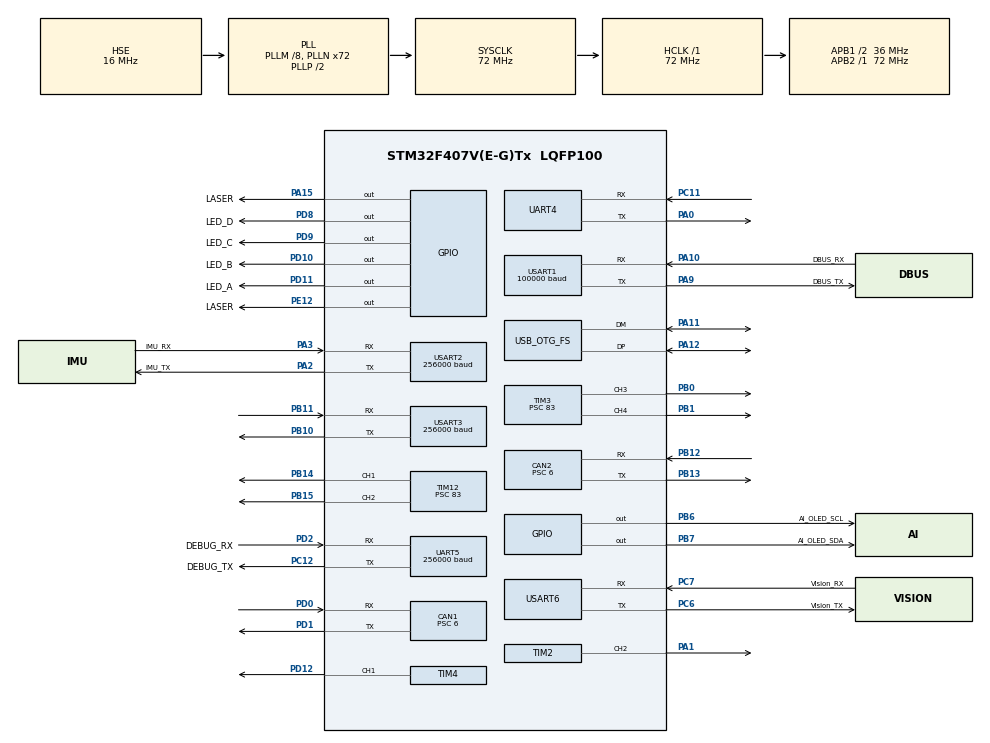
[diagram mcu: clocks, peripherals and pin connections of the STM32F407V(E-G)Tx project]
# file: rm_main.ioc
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CAN1.ABOM=ENABLE
CAN1.BS1=CAN_BS1_2TQ
CAN1.BS2=CAN_BS2_3TQ
CAN1.CalculateBaudRate=999999
CAN1.CalculateTimeBit=1000
CAN1.CalculateTimeQuantum=166.66666666666669
CAN1.Prescaler=6
CAN2.ABOM=ENABLE
CAN2.BS1=CAN_BS1_2TQ
CAN2.BS2=CAN_BS2_3TQ
CAN2.CalculateBaudRate=999999
CAN2.CalculateTimeBit=1000
CAN2.CalculateTimeQuantum=166.66666666666669
CAN2.Prescaler=6
Dma.Request0=USART2_RX
Dma.Request1=USART3_RX
Dma.Request10=USART6_TX
Dma.Request11=USART1_TX
Dma.Request2=USART3_TX
Dma.Request3=USART1_RX
Dma.Request4=USART6_RX
Dma.Request5=UART5_RX
Dma.Request6=UART5_TX
Dma.Request7=USART2_TX
Dma.Request8=UART4_RX
Dma.Request9=UART4_TX
Dma.UART4_RX.8.Direction=DMA_PERIPH_TO_MEMORY
Dma.UART4_RX.8.FIFOMode=DMA_FIFOMODE_DISABLE
Dma.UART4_RX.8.Instance=DMA1_Stream2
Dma.UART4_RX.8.MemDataAlignment=DMA_MDATAALIGN_BYTE
Dma.UART4_RX.8.MemInc=DMA_MINC_ENABLE
Dma.UART4_RX.8.Mode=DMA_NORMAL
Dma.UART4_RX.8.PeriphDataAlignment=DMA_PDATAALIGN_BYTE
Dma.UART4_RX.8.PeriphInc=DMA_PINC_DISABLE
Dma.UART4_RX.8.Priority=DMA_PRIORITY_LOW
Dma.UART4_TX.9.Direction=DMA_MEMORY_TO_PERIPH
Dma.UART4_TX.9.FIFOMode=DMA_FIFOMODE_DISABLE
Dma.UART4_TX.9.Instance=DMA1_Stream4
Dma.UART4_TX.9.MemDataAlignment=DMA_MDATAALIGN_BYTE
Dma.UART4_TX.9.MemInc=DMA_MINC_ENABLE
Dma.UART4_TX.9.Mode=DMA_NORMAL
Dma.UART4_TX.9.PeriphDataAlignment=DMA_PDATAALIGN_BYTE
Dma.UART4_TX.9.PeriphInc=DMA_PINC_DISABLE
Dma.UART4_TX.9.Priority=DMA_PRIORITY_LOW
Dma.UART5_RX.5.Direction=DMA_PERIPH_TO_MEMORY
Dma.UART5_RX.5.FIFOMode=DMA_FIFOMODE_DISABLE
Dma.UART5_RX.5.Instance=DMA1_Stream0
Dma.UART5_RX.5.MemDataAlignment=DMA_MDATAALIGN_BYTE
Dma.UART5_RX.5.MemInc=DMA_MINC_ENABLE
Dma.UART5_RX.5.Mode=DMA_NORMAL
Dma.UART5_RX.5.PeriphDataAlignment=DMA_PDATAALIGN_BYTE
Dma.UART5_RX.5.PeriphInc=DMA_PINC_DISABLE
Dma.UART5_RX.5.Priority=DMA_PRIORITY_LOW
Dma.UART5_TX.6.Direction=DMA_MEMORY_TO_PERIPH
Dma.UART5_TX.6.FIFOMode=DMA_FIFOMODE_DISABLE
Dma.UART5_TX.6.Instance=DMA1_Stream7
Dma.UART5_TX.6.MemDataAlignment=DMA_MDATAALIGN_BYTE
Dma.UART5_TX.6.MemInc=DMA_MINC_ENABLE
Dma.UART5_TX.6.Mode=DMA_NORMAL
Dma.UART5_TX.6.PeriphDataAlignment=DMA_PDATAALIGN_BYTE
Dma.UART5_TX.6.PeriphInc=DMA_PINC_DISABLE
Dma.UART5_TX.6.Priority=DMA_PRIORITY_LOW
Dma.USART1_RX.3.Direction=DMA_PERIPH_TO_MEMORY
Dma.USART1_RX.3.FIFOMode=DMA_FIFOMODE_DISABLE
Dma.USART1_RX.3.Instance=DMA2_Stream2
Dma.USART1_RX.3.MemDataAlignment=DMA_MDATAALIGN_BYTE
Dma.USART1_RX.3.MemInc=DMA_MINC_ENABLE
Dma.USART1_RX.3.Mode=DMA_NORMAL
Dma.USART1_RX.3.PeriphDataAlignment=DMA_PDATAALIGN_BYTE
Dma.USART1_RX.3.PeriphInc=DMA_PINC_DISABLE
Dma.USART1_RX.3.Priority=DMA_PRIORITY_LOW
Dma.USART1_TX.11.Direction=DMA_MEMORY_TO_PERIPH
Dma.USART1_TX.11.FIFOMode=DMA_FIFOMODE_DISABLE
Dma.USART1_TX.11.Instance=DMA2_Stream7
Dma.USART1_TX.11.MemDataAlignment=DMA_MDATAALIGN_BYTE
Dma.USART1_TX.11.MemInc=DMA_MINC_ENABLE
Dma.USART1_TX.11.Mode=DMA_NORMAL
Dma.USART1_TX.11.PeriphDataAlignment=DMA_PDATAALIGN_BYTE
Dma.USART1_TX.11.PeriphInc=DMA_PINC_DISABLE
Dma.USART1_TX.11.Priority=DMA_PRIORITY_LOW
Dma.USART2_RX.0.Direction=DMA_PERIPH_TO_MEMORY
Dma.USART2_RX.0.FIFOMode=DMA_FIFOMODE_DISABLE
Dma.USART2_RX.0.Instance=DMA1_Stream5
Dma.USART2_RX.0.MemDataAlignment=DMA_MDATAALIGN_BYTE
Dma.USART2_RX.0.MemInc=DMA_MINC_ENABLE
Dma.USART2_RX.0.Mode=DMA_NORMAL
Dma.USART2_RX.0.PeriphDataAlignment=DMA_PDATAALIGN_BYTE
Dma.USART2_RX.0.PeriphInc=DMA_PINC_DISABLE
Dma.USART2_RX.0.Priority=DMA_PRIORITY_LOW
Dma.USART2_TX.7.Direction=DMA_MEMORY_TO_PERIPH
Dma.USART2_TX.7.FIFOMode=DMA_FIFOMODE_DISABLE
Dma.USART2_TX.7.Instance=DMA1_Stream6
Dma.USART2_TX.7.MemDataAlignment=DMA_MDATAALIGN_BYTE
Dma.USART2_TX.7.MemInc=DMA_MINC_ENABLE
Dma.USART2_TX.7.Mode=DMA_NORMAL
Dma.USART2_TX.7.PeriphDataAlignment=DMA_PDATAALIGN_BYTE
Dma.USART2_TX.7.PeriphInc=DMA_PINC_DISABLE
Dma.USART2_TX.7.Priority=DMA_PRIORITY_LOW
Dma.USART3_RX.1.Direction=DMA_PERIPH_TO_MEMORY
Dma.USART3_RX.1.FIFOMode=DMA_FIFOMODE_DISABLE
Dma.USART3_RX.1.Instance=DMA1_Stream1
Dma.USART3_RX.1.MemDataAlignment=DMA_MDATAALIGN_BYTE
Dma.USART3_RX.1.MemInc=DMA_MINC_ENABLE
Dma.USART3_RX.1.Mode=DMA_NORMAL
Dma.USART3_RX.1.PeriphDataAlignment=DMA_PDATAALIGN_BYTE
Dma.USART3_RX.1.PeriphInc=DMA_PINC_DISABLE
Dma.USART3_RX.1.Priority=DMA_PRIORITY_LOW
Dma.USART3_TX.2.Direction=DMA_MEMORY_TO_PERIPH
Dma.USART3_TX.2.FIFOMode=DMA_FIFOMODE_DISABLE
Dma.USART3_TX.2.Instance=DMA1_Stream3
Dma.USART3_TX.2.MemDataAlignment=DMA_MDATAALIGN_BYTE
Dma.USART3_TX.2.MemInc=DMA_MINC_ENABLE
Dma.USART3_TX.2.Mode=DMA_NORMAL
Dma.USART3_TX.2.PeriphDataAlignment=DMA_PDATAALIGN_BYTE
Dma.USART3_TX.2.PeriphInc=DMA_PINC_DISABLE
Dma.USART3_TX.2.Priority=DMA_PRIORITY_LOW
Dma.USART6_RX.4.Direction=DMA_PERIPH_TO_MEMORY
Dma.USART6_RX.4.FIFOMode=DMA_FIFOMODE_DISABLE
Dma.USART6_RX.4.Instance=DMA2_Stream1
Dma.USART6_RX.4.MemDataAlignment=DMA_MDATAALIGN_BYTE
Dma.USART6_RX.4.MemInc=DMA_MINC_ENABLE
Dma.USART6_RX.4.Mode=DMA_NORMAL
Dma.USART6_RX.4.PeriphDataAlignment=DMA_PDATAALIGN_BYTE
Dma.USART6_RX.4.PeriphInc=DMA_PINC_DISABLE
Dma.USART6_RX.4.Priority=DMA_PRIORITY_LOW
Dma.USART6_TX.10.Direction=DMA_MEMORY_TO_PERIPH
Dma.USART6_TX.10.FIFOMode=DMA_FIFOMODE_DISABLE
Dma.USART6_TX.10.Instance=DMA2_Stream6
Dma.USART6_TX.10.MemDataAlignment=DMA_MDATAALIGN_BYTE
Dma.USART6_TX.10.MemInc=DMA_MINC_ENABLE
Dma.USART6_TX.10.Mode=DMA_NORMAL
Dma.USART6_TX.10.PeriphDataAlignment=DMA_PDATAALIGN_BYTE
Dma.USART6_TX.10.PeriphInc=DMA_PINC_DISABLE
Dma.USART6_TX.10.Priority=DMA_PRIORITY_LOW
FREERTOS.INCLUDE_vTaskDelayUntil=1
FREERTOS.Tasks01=defaultTask,0,128,StartDefaultTask,Default,NULL
FREERTOS.configUSE_TIMERS=1
IWDG.Prescaler=IWDG_PRESCALER_32
IWDG.Reload=1000
Mcu.Family=STM32F4
Mcu.Name=STM32F407V(E-G)Tx
Mcu.Package=LQFP100
NVIC.CAN1_RX0_IRQn=true\:5\:0\:false\:false\:true\:true\:true\:true
NVIC.CAN1_RX1_IRQn=true\:5\:0\:false\:false\:true\:true\:true\:true
NVIC.CAN1_SCE_IRQn=true\:5\:0\:false\:false\:true\:true\:true\:true
NVIC.CAN1_TX_IRQn=true\:5\:0\:false\:false\:true\:true\:true\:true
NVIC.CAN2_RX0_IRQn=true\:5\:0\:false\:false\:true\:true\:true\:true
NVIC.CAN2_RX1_IRQn=true\:5\:0\:false\:false\:true\:true\:true\:true
NVIC.CAN2_SCE_IRQn=true\:5\:0\:false\:false\:true\:true\:true\:true
NVIC.CAN2_TX_IRQn=true\:5\:0\:false\:false\:true\:true\:true\:true
NVIC.DMA1_Stream0_IRQn=true\:5\:0\:false\:false\:true\:true\:false\:true
NVIC.DMA1_Stream1_IRQn=true\:5\:0\:false\:false\:true\:true\:false\:true
NVIC.DMA1_Stream2_IRQn=true\:5\:0\:false\:false\:true\:true\:false\:true
NVIC.DMA1_Stream3_IRQn=true\:5\:0\:false\:false\:true\:true\:false\:true
NVIC.DMA1_Stream4_IRQn=true\:5\:0\:false\:false\:true\:true\:false\:true
NVIC.DMA1_Stream5_IRQn=true\:5\:0\:false\:false\:true\:true\:false\:true
NVIC.DMA1_Stream6_IRQn=true\:5\:0\:false\:false\:true\:true\:false\:true
NVIC.DMA1_Stream7_IRQn=true\:5\:0\:false\:false\:true\:true\:false\:true
NVIC.DMA2_Stream1_IRQn=true\:5\:0\:false\:false\:true\:true\:false\:true
NVIC.DMA2_Stream2_IRQn=true\:5\:0\:false\:false\:true\:true\:false\:true
NVIC.DMA2_Stream6_IRQn=true\:5\:0\:false\:false\:true\:true\:false\:true
NVIC.DMA2_Stream7_IRQn=true\:5\:0\:false\:false\:true\:true\:false\:true
NVIC.OTG_FS_IRQn=true\:5\:0\:false\:false\:true\:true\:false\:true
NVIC.PriorityGroup=NVIC_PRIORITYGROUP_4
NVIC.TIM1_UP_TIM10_IRQn=true\:0\:0\:false\:false\:true\:false\:false\:true
NVIC.TimeBase=TIM1_UP_TIM10_IRQn
NVIC.TimeBaseIP=TIM10
NVIC.UART4_IRQn=true\:5\:0\:false\:false\:true\:true\:true\:true
NVIC.UART5_IRQn=true\:5\:0\:false\:false\:true\:true\:true\:true
NVIC.USART1_IRQn=true\:5\:0\:false\:false\:true\:true\:true\:true
NVIC.USART2_IRQn=true\:5\:0\:false\:false\:true\:true\:true\:true
NVIC.USART3_IRQn=true\:5\:0\:false\:false\:true\:true\:true\:true
NVIC.USART6_IRQn=true\:5\:0\:false\:false\:true\:true\:true\:true
PA0-WKUP.Mode=Asynchronous
PA0-WKUP.Signal=UART4_TX
PA1.Signal=S_TIM2_CH2
PA10.GPIO_Label=DBUS_RX
PA10.Mode=Asynchronous
PA10.Signal=USART1_RX
PA11.Mode=Device_Only
PA11.Signal=USB_OTG_FS_DM
PA12.Mode=Device_Only
PA12.Signal=USB_OTG_FS_DP
PA13.Mode=Serial_Wire
PA13.Signal=SYS_JTMS-SWDIO
PA14.Mode=Serial_Wire
PA14.Signal=SYS_JTCK-SWCLK
PA15.GPIO_Label=LASER
PA15.Signal=GPIO_Output
PA2.GPIO_Label=IMU_TX
PA2.Mode=Asynchronous
PA2.Signal=USART2_TX
PA3.GPIO_Label=IMU_RX
PA3.Mode=Asynchronous
PA3.Signal=USART2_RX
PA9.GPIO_Label=DBUS_TX
PA9.Mode=Asynchronous
PA9.Signal=USART1_TX
PB0.Signal=S_TIM3_CH3
PB1.Signal=S_TIM3_CH4
PB10.Mode=Asynchronous
PB10.Signal=USART3_TX
PB11.Mode=Asynchronous
PB11.Signal=USART3_RX
PB12.Mode=CAN_Activate
PB12.Signal=CAN2_RX
PB13.Mode=CAN_Activate
PB13.Signal=CAN2_TX
PB14.Signal=S_TIM12_CH1
PB15.Signal=S_TIM12_CH2
PB6.GPIO_Label=AI_OLED_SCL
PB6.Signal=GPIO_Output
PB7.GPIO_Label=AI_OLED_SDA
PB7.Signal=GPIO_Output
PC11.Mode=Asynchronous
PC11.Signal=UART4_RX
PC12.GPIO_Label=DEBUG_TX
PC12.Mode=Asynchronous
PC12.Signal=UART5_TX
PC6.GPIO_Label=Vision_TX
PC6.Mode=Asynchronous
PC6.Signal=USART6_TX
PC7.GPIO_Label=Vision_RX
PC7.Mode=Asynchronous
PC7.Signal=USART6_RX
PD0.Mode=CAN_Activate
PD0.Signal=CAN1_RX
PD1.Mode=CAN_Activate
PD1.Signal=CAN1_TX
PD10.GPIO_Label=LED_B
PD10.Signal=GPIO_Output
PD11.GPIO_Label=LED_A
PD11.Signal=GPIO_Output
PD12.Signal=S_TIM4_CH1
PD2.GPIO_Label=DEBUG_RX
PD2.Mode=Asynchronous
PD2.Signal=UART5_RX
PD8.GPIO_Label=LED_D
PD8.Signal=GPIO_Output
PD9.GPIO_Label=LED_C
PD9.Signal=GPIO_Output
PE12.GPIO_Label=LASER
PE12.Signal=GPIO_Output
PH0-OSC_IN.Mode=HSE-External-Oscillator
PH0-OSC_IN.Signal=RCC_OSC_IN
PH1-OSC_OUT.Mode=HSE-External-Oscillator
PH1-OSC_OUT.Signal=RCC_OSC_OUT
ProjectManager.HeapSize=0x1000
ProjectManager.StackSize=0x600
ProjectManager.TargetToolchain=MDK-ARM V5
RCC.48MHZClocksFreq_Value=48000000
RCC.AHBFreq_Value=72000000
RCC.APB1CLKDivider=RCC_HCLK_DIV2
RCC.APB1Freq_Value=36000000
RCC.APB1TimFreq_Value=72000000
RCC.APB2Freq_Value=72000000
RCC.APB2TimFreq_Value=72000000
RCC.CortexFreq_Value=72000000
RCC.HCLKFreq_Value=72000000
RCC.HSE_VALUE=16000000
RCC.HSI_VALUE=16000000
RCC.LSE_VALUE=32768
RCC.PLLM=8
RCC.PLLN=72
RCC.PLLQ=3
RCC.SYSCLKFreq_VALUE=72000000
RCC.SYSCLKSource=RCC_SYSCLKSOURCE_PLLCLK
RCC.VCOOutputFreq_Value=144000000
SH.S_TIM12_CH1.0=TIM12_CH1,PWM Generation1 CH1
SH.S_TIM12_CH2.0=TIM12_CH2,PWM Generation2 CH2
SH.S_TIM2_CH2.0=TIM2_CH2,PWM Generation2 CH2
SH.S_TIM3_CH3.0=TIM3_CH3,PWM Generation3 CH3
SH.S_TIM3_CH4.0=TIM3_CH4,PWM Generation4 CH4
SH.S_TIM4_CH1.0=TIM4_CH1,PWM Generation1 CH1
TIM12.Channel-PWM\ Generation1\ CH1=TIM_CHANNEL_1
TIM12.Channel-PWM\ Generation2\ CH2=TIM_CHANNEL_2
TIM12.Period=19999
TIM12.Prescaler=83
TIM13.Period=19999
TIM13.Prescaler=83
TIM2.Channel-PWM\ Generation2\ CH2=TIM_CHANNEL_2
TIM2.Period=19999
TIM2.Prescaler=83
TIM3.Channel-PWM\ Generation3\ CH3=TIM_CHANNEL_3
TIM3.Channel-PWM\ Generation4\ CH4=TIM_CHANNEL_4
TIM3.Period=19999
TIM3.Prescaler=83
TIM3.Pulse-PWM\ Generation3\ CH3=800
TIM3.Pulse-PWM\ Generation4\ CH4=800
TIM4.Channel-PWM\ Generation1\ CH1=TIM_CHANNEL_1
TIM4.Period=19999
TIM4.Prescaler=83
TIM4.Pulse-PWM\ Generation1\ CH1=800
UART4.VirtualMode=Asynchronous
UART5.BaudRate=256000
UART5.VirtualMode=Asynchronous
USART1.BaudRate=100000
USART1.Parity=PARITY_EVEN
USART1.VirtualMode=VM_ASYNC
USART2.BaudRate=256000
USART2.VirtualMode=VM_ASYNC
USART3.BaudRate=256000
USART3.VirtualMode=VM_ASYNC
USART6.VirtualMode=VM_ASYNC
USB_DEVICE.CLASS_NAME_FS=CDC
USB_DEVICE.VirtualMode-CDC_FS=Cdc
USB_DEVICE.VirtualModeFS=Cdc_FS
USB_OTG_FS.VirtualMode=Device_Only
VP_CRC_VS_CRC.Mode=CRC_Activate
VP_FREERTOS_VS_CMSIS_V1.Mode=CMSIS_V1
VP_IWDG_VS_IWDG.Mode=IWDG_Activate
VP_SYS_VS_tim10.Mode=TIM10
VP_TIM13_VS_ClockSourceINT.Mode=Enable_Timer
VP_USB_DEVICE_VS_USB_DEVICE_CDC_FS.Mode=CDC_FS
board=custom

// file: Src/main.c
/* USER CODE BEGIN Header */
/**
  ******************************************************************************
  * @file           : main.c
  * @brief          : Main program body
  ******************************************************************************
  * @attention
  *
  * <h2><center>&copy; Copyright (c) 2019 STMicroelectronics.
  * All rights reserved.</center></h2>
  *
  * This software component is licensed by ST under Ultimate Liberty license
  * SLA0044, the "License"; You may not use this file except in compliance with
  * the License. You may obtain a copy of the License at:
  *                             www.st.com/SLA0044
  *
  ******************************************************************************
  */
/* USER CODE END Header */
#include "main.h"
#include "cmsis_os.h"
#include "can.h"
#include "crc.h"
#include "dma.h"
#include "iwdg.h"
#include "tim.h"
#include "usart.h"
#include "usb_device.h"
#include "gpio.h"

/* USER CODE BEGIN Includes */
#include "bsp_can.h"
#include "chassis_task.h"
#include "gimbal_task.h"
#include "status_task.h"
#include "shoot_task.h"
#include "modeswitch_task.h"
#include "visionfire_task.h"
#include "bsp_powerlimit.h"
#include "bsp_usart.h"
#include "KalmanFilter.h"
#include "func_generator.h"
/* USER CODE END Includes */

void SystemClock_Config(void);
void MX_FREERTOS_Init(void);

int main(void)
{

  /* MCU Configuration--------------------------------------------------------*/

  /* Reset of all peripherals, Initializes the Flash interface and the Systick. */
  HAL_Init();

  /* Configure the system clock */
  SystemClock_Config();

  /* Initialize all configured peripherals */
  MX_GPIO_Init();
  MX_DMA_Init();
  MX_CAN1_Init();
  MX_CAN2_Init();
  MX_TIM2_Init();
  MX_TIM3_Init();
  MX_TIM13_Init();
  MX_UART5_Init();
  MX_USART1_UART_Init();
  MX_USART2_UART_Init();
  MX_USART3_UART_Init();
  MX_USART6_UART_Init();
  MX_TIM12_Init();
  MX_UART4_Init();
  MX_TIM4_Init();
  MX_CRC_Init();
  //MX_IWDG_Init();
  /* USER CODE BEGIN 2 */
    status_init();
    can_device_init();
    chassis_init();
    PowerControl_Init();
    Kalman_init();
    USER_UART_Init();
    FGT_init();
	//	__HAL_IWDG_START(&hiwdg);
    HAL_Delay(500);
  // __HAL_IWDG_START(&hiwdg);
  /* USER CODE END 2 */

  /* Call init function for freertos objects (in freertos.c) */
  MX_FREERTOS_Init();
  /* Start scheduler */
  osKernelStart();

  /* We should never get here as control is now taken by the scheduler */
  /* Infinite loop */
    while (1)
    {

    }
}

void SystemClock_Config(void)
{
  RCC_OscInitTypeDef RCC_OscInitStruct = {0};
  RCC_ClkInitTypeDef RCC_ClkInitStruct = {0};

  /** Configure the main internal regulator output voltage
  */
  __HAL_RCC_PWR_CLK_ENABLE();
  __HAL_PWR_VOLTAGESCALING_CONFIG(PWR_REGULATOR_VOLTAGE_SCALE1);
  /** Initializes the RCC Oscillators according to the specified parameters
  * in the RCC_OscInitTypeDef structure.
  */
  RCC_OscInitStruct.OscillatorType = RCC_OSCILLATORTYPE_LSI|RCC_OSCILLATORTYPE_HSE;
  RCC_OscInitStruct.HSEState = RCC_HSE_ON;
  RCC_OscInitStruct.LSIState = RCC_LSI_ON;
  RCC_OscInitStruct.PLL.PLLState = RCC_PLL_ON;
  RCC_OscInitStruct.PLL.PLLSource = RCC_PLLSOURCE_HSE;
  RCC_OscInitStruct.PLL.PLLM = 8;
  RCC_OscInitStruct.PLL.PLLN = 72;
  RCC_OscInitStruct.PLL.PLLP = RCC_PLLP_DIV2;
  RCC_OscInitStruct.PLL.PLLQ = 3;
  if (HAL_RCC_OscConfig(&RCC_OscInitStruct) != HAL_OK)
  {
    Error_Handler();
  }
  /** Initializes the CPU, AHB and APB buses clocks
  */
  RCC_ClkInitStruct.ClockType = RCC_CLOCKTYPE_HCLK|RCC_CLOCKTYPE_SYSCLK
                              |RCC_CLOCKTYPE_PCLK1|RCC_CLOCKTYPE_PCLK2;
  RCC_ClkInitStruct.SYSCLKSource = RCC_SYSCLKSOURCE_PLLCLK;
  RCC_ClkInitStruct.AHBCLKDivider = RCC_SYSCLK_DIV1;
  RCC_ClkInitStruct.APB1CLKDivider = RCC_HCLK_DIV2;
  RCC_ClkInitStruct.APB2CLKDivider = RCC_HCLK_DIV1;

  if (HAL_RCC_ClockConfig(&RCC_ClkInitStruct, FLASH_LATENCY_2) != HAL_OK)
  {
    Error_Handler();
  }
}

void HAL_TIM_PeriodElapsedCallback(TIM_HandleTypeDef *htim)
{
  if (htim->Instance == TIM10) {
    HAL_IncTick();
  }
}

void Error_Handler(void)
{
}

/************************ (C) COPYRIGHT STMicroelectronics *****END OF FILE****/

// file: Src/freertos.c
/* USER CODE BEGIN Header */
/**
  ******************************************************************************
  * File Name          : freertos.c
  * Description        : Code for freertos applications
  ******************************************************************************
  * @attention
  *
  * <h2><center>&copy; Copyright (c) 2019 STMicroelectronics.
  * All rights reserved.</center></h2>
  *
  * This software component is licensed by ST under Ultimate Liberty license
  * SLA0044, the "License"; You may not use this file except in compliance with
  * the License. You may obtain a copy of the License at:
  *                             www.st.com/SLA0044
  *
  ******************************************************************************
  */
/* USER CODE END Header */

#include "FreeRTOS.h"
#include "task.h"
#include "main.h"
#include "cmsis_os.h"

/* USER CODE BEGIN Includes */
#include "comm_task.h"
#include "chassis_task.h"
#include "modeswitch_task.h"
#include "gimbal_task.h"
#include "shoot_task.h"
#include "status_task.h"
#include "bsp_judge.h"
#include "test_task.h"

#include "usb_task.h"
/* USER CODE END Includes */

/* USER CODE BEGIN Variables */
osThreadId mode_sw_task_t;
osThreadId chassis_task_t;
osThreadId gimbal_task_t;
osThreadId shoot_task_t;

osThreadId judge_send_task_t;
osThreadId usart_msg_send_task_t;
osThreadId can_msg_send_task_t;

osThreadId status_task_t;
osThreadId test_task_t;
osThreadId msg_to_gimbalTask_t;

osThreadId decode_task_handle;
osThreadId usb_task_handle;

 QueueHandle_t CDC_send_queue; // 新建CDC消息队列

/* USER CODE END Variables */
osThreadId defaultTaskHandle;

/* USER CODE BEGIN FunctionPrototypes */
extern void decode_task(void const * argument);
/* USER CODE END FunctionPrototypes */

void StartDefaultTask(void const * argument);

extern void MX_USB_DEVICE_Init(void);
void MX_FREERTOS_Init(void); /* (MISRA C 2004 rule 8.1) */

/* GetIdleTaskMemory prototype (linked to static allocation support) */
void vApplicationGetIdleTaskMemory( StaticTask_t **ppxIdleTaskTCBBuffer, StackType_t **ppxIdleTaskStackBuffer, uint32_t *pulIdleTaskStackSize );

/* GetTimerTaskMemory prototype (linked to static allocation support) */
void vApplicationGetTimerTaskMemory( StaticTask_t **ppxTimerTaskTCBBuffer, StackType_t **ppxTimerTaskStackBuffer, uint32_t *pulTimerTaskStackSize );

/* USER CODE BEGIN GET_IDLE_TASK_MEMORY */
static StaticTask_t xIdleTaskTCBBuffer;
static StackType_t xIdleStack[configMINIMAL_STACK_SIZE];

void vApplicationGetIdleTaskMemory( StaticTask_t **ppxIdleTaskTCBBuffer, StackType_t **ppxIdleTaskStackBuffer, uint32_t *pulIdleTaskStackSize )
{
    *ppxIdleTaskTCBBuffer = &xIdleTaskTCBBuffer;
    *ppxIdleTaskStackBuffer = &xIdleStack[0];
    *pulIdleTaskStackSize = configMINIMAL_STACK_SIZE;
    /* place for user code */
}
/* USER CODE END GET_IDLE_TASK_MEMORY */

/* USER CODE BEGIN GET_TIMER_TASK_MEMORY */
static StaticTask_t xTimerTaskTCBBuffer;
static StackType_t xTimerStack[configTIMER_TASK_STACK_DEPTH];

void vApplicationGetTimerTaskMemory( StaticTask_t **ppxTimerTaskTCBBuffer, StackType_t **ppxTimerTaskStackBuffer, uint32_t *pulTimerTaskStackSize )
{
    *ppxTimerTaskTCBBuffer = &xTimerTaskTCBBuffer;
    *ppxTimerTaskStackBuffer = &xTimerStack[0];
    *pulTimerTaskStackSize = configTIMER_TASK_STACK_DEPTH;
    /* place for user code */
}
/* USER CODE END GET_TIMER_TASK_MEMORY */

void MX_FREERTOS_Init(void) {

  /* USER CODE BEGIN RTOS_TIMERS */
    /* start timers, add new ones, ... */
    taskENTER_CRITICAL();

  /* USER CODE END RTOS_TIMERS */

  /* Create the thread(s) */
  /* definition and creation of defaultTask */
  osThreadDef(defaultTask, StartDefaultTask, osPriorityNormal, 0, 128);
  defaultTaskHandle = osThreadCreate(osThread(defaultTask), NULL);

  /* USER CODE BEGIN RTOS_THREADS */
    /* add threads, ... */
    /* high priority task */

    /***************************High priority task***************************/
    osThreadDef(canTask, can_msg_send_task, osPriorityHigh, 0, 256);
    can_msg_send_task_t = osThreadCreate(osThread(canTask), NULL);
    /***********************AboveNormal priority task***********************/
    osThreadDef(chassisTask, chassis_task, osPriorityHigh, 0, 256);
    chassis_task_t = osThreadCreate(osThread(chassisTask),NULL);

	osThreadDef(msg_to_gimbalTask, can_msg_chassis_to_gimbal, osPriorityNormal, 0, 256);
    msg_to_gimbalTask_t = osThreadCreate(osThread(msg_to_gimbalTask),NULL);
    /**************************Low priority task**************************/
	osThreadDef(statusTask, status_task, osPriorityLow, 0, 128);
	status_task_t = osThreadCreate(osThread(statusTask),NULL);
    /* low priority task */

		// CDC_send_queue = xQueueCreate(1, 128); // 串口消息队列

    taskEXIT_CRITICAL();
  /* USER CODE END RTOS_THREADS */

}

void StartDefaultTask(void const * argument)
{
  /* init code for USB_DEVICE */
  /* USER CODE BEGIN StartDefaultTask */
    /* Infinite loop */
    for(;;)
    {
        osDelay(100);
    }
  /* USER CODE END StartDefaultTask */
}

/************************ (C) COPYRIGHT STMicroelectronics *****END OF FILE****/
